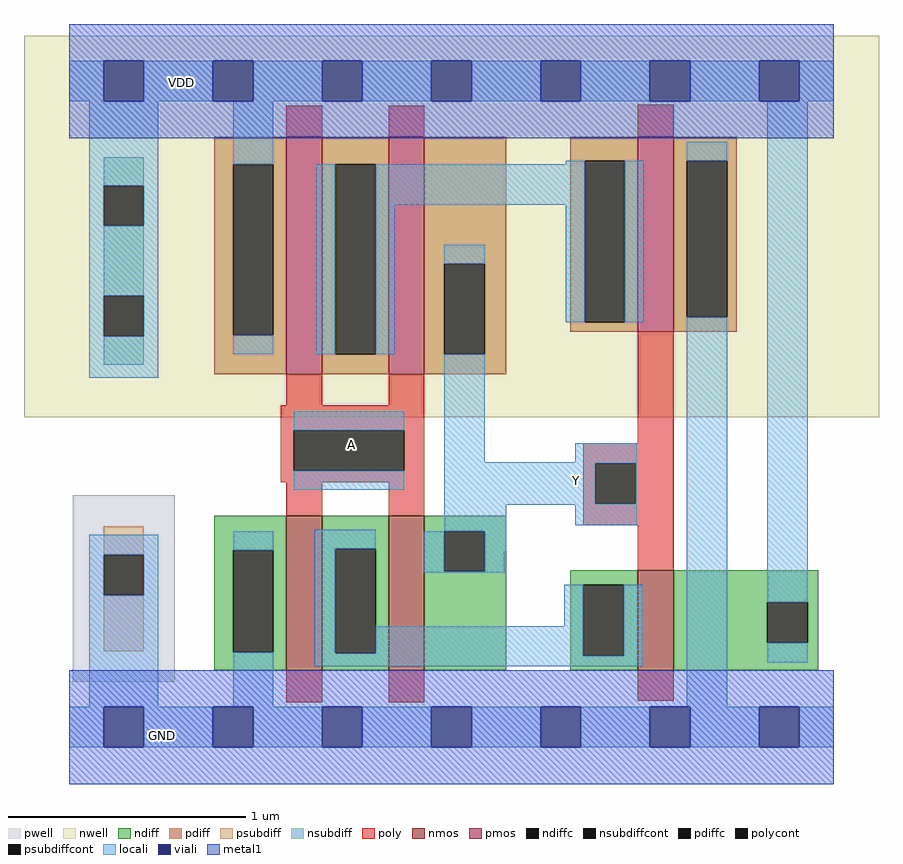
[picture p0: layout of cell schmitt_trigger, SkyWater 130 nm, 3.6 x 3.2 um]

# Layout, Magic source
magic
tech sky130A
magscale 1 2
<< nwell >>
rect 339 309 1059 630
<< pwell >>
rect 380 86 466 243
<< nmos >>
rect 560 96 590 226
rect 646 96 676 226
rect 856 96 886 180
<< pmos >>
rect 560 345 590 545
rect 646 345 676 545
rect 856 381 886 545
<< ndiff >>
rect 499 197 560 226
rect 499 111 515 197
rect 549 111 560 197
rect 499 96 560 111
rect 590 198 646 226
rect 590 110 601 198
rect 635 110 646 198
rect 590 96 646 110
rect 676 213 745 226
rect 676 179 693 213
rect 727 179 745 213
rect 676 96 745 179
rect 799 168 856 180
rect 799 108 810 168
rect 844 108 856 168
rect 799 96 856 108
rect 886 153 1008 180
rect 886 119 965 153
rect 999 119 1008 153
rect 886 96 1008 119
<< pdiff >>
rect 499 522 560 545
rect 499 378 515 522
rect 549 378 560 522
rect 499 345 560 378
rect 590 522 646 545
rect 590 362 601 522
rect 635 362 646 522
rect 590 345 646 362
rect 676 438 745 545
rect 676 362 693 438
rect 727 362 745 438
rect 799 525 856 545
rect 799 389 811 525
rect 845 389 856 525
rect 799 381 856 389
rect 886 525 939 545
rect 886 393 897 525
rect 931 393 939 525
rect 886 381 939 393
rect 676 345 745 362
<< ndiffc >>
rect 515 111 549 197
rect 601 110 635 198
rect 693 179 727 213
rect 810 108 844 168
rect 965 119 999 153
<< pdiffc >>
rect 515 378 549 522
rect 601 362 635 522
rect 693 362 727 438
rect 811 389 845 525
rect 897 393 931 525
<< psubdiff >>
rect 406 193 440 217
rect 406 112 440 159
<< nsubdiff >>
rect 406 504 440 528
rect 406 411 440 470
rect 406 353 440 377
<< psubdiffcont >>
rect 406 159 440 193
<< nsubdiffcont >>
rect 406 470 440 504
rect 406 377 440 411
<< poly >>
rect 560 545 590 571
rect 646 545 676 571
rect 856 545 886 572
rect 560 319 590 345
rect 646 319 676 345
rect 555 298 676 319
rect 555 264 566 298
rect 659 264 676 298
rect 856 287 886 381
rect 555 254 676 264
rect 560 226 590 254
rect 646 226 676 254
rect 810 270 886 287
rect 810 236 820 270
rect 854 236 886 270
rect 810 218 886 236
rect 856 180 886 218
rect 560 69 590 96
rect 646 69 676 96
rect 856 70 886 96
<< polycont >>
rect 566 264 659 298
rect 820 236 854 270
<< locali >>
rect 377 575 406 609
rect 440 575 498 609
rect 532 575 590 609
rect 624 575 682 609
rect 716 575 774 609
rect 808 575 866 609
rect 900 575 958 609
rect 992 575 1021 609
rect 394 504 452 575
rect 394 470 406 504
rect 440 470 452 504
rect 394 411 452 470
rect 394 377 406 411
rect 440 377 452 411
rect 394 342 452 377
rect 515 522 549 575
rect 897 525 931 541
rect 795 522 811 525
rect 515 362 549 378
rect 585 362 601 522
rect 635 488 811 522
rect 635 362 651 488
rect 693 438 727 454
rect 795 389 811 488
rect 845 389 861 525
rect 566 298 659 314
rect 566 248 659 264
rect 693 271 727 362
rect 803 271 855 287
rect 693 270 855 271
rect 693 236 820 270
rect 854 236 855 270
rect 693 235 855 236
rect 394 193 452 210
rect 394 159 406 193
rect 440 159 452 193
rect 394 65 452 159
rect 515 197 549 213
rect 515 65 549 111
rect 584 198 635 214
rect 693 213 745 235
rect 803 218 855 235
rect 584 110 601 198
rect 676 179 693 213
rect 727 196 745 213
rect 727 179 744 196
rect 676 178 744 179
rect 794 133 810 168
rect 635 110 810 133
rect 584 108 810 110
rect 844 108 860 168
rect 584 99 860 108
rect 897 65 931 393
rect 965 153 999 575
rect 965 102 999 119
rect 377 31 406 65
rect 440 31 498 65
rect 532 31 590 65
rect 624 31 682 65
rect 716 31 774 65
rect 808 31 866 65
rect 900 31 958 65
rect 992 31 1021 65
<< viali >>
rect 406 575 440 609
rect 498 575 532 609
rect 590 575 624 609
rect 682 575 716 609
rect 774 575 808 609
rect 866 575 900 609
rect 958 575 992 609
rect 406 31 440 65
rect 498 31 532 65
rect 590 31 624 65
rect 682 31 716 65
rect 774 31 808 65
rect 866 31 900 65
rect 958 31 992 65
<< metal1 >>
rect 377 609 1021 640
rect 377 575 406 609
rect 440 575 498 609
rect 532 575 590 609
rect 624 575 682 609
rect 716 575 774 609
rect 808 575 866 609
rect 900 575 958 609
rect 992 575 1021 609
rect 377 544 1021 575
rect 377 65 1021 96
rect 377 31 406 65
rect 440 31 498 65
rect 532 31 590 65
rect 624 31 682 65
rect 716 31 774 65
rect 808 31 866 65
rect 900 31 958 65
rect 992 31 1021 65
rect 377 0 1021 31
<< labels >>
flabel polycont 610 281 620 291 1 FreeSans 320 0 0 0 A
port 5 n
flabel locali 801 249 807 263 1 FreeSans 320 0 0 0 Y
port 6 n
flabel metal1 453 38 459 43 1 FreeSans 320 0 0 0 GND
port 7 n
flabel metal1 471 586 473 595 1 FreeSans 320 0 0 0 VDD
port 8 n
<< end >>
